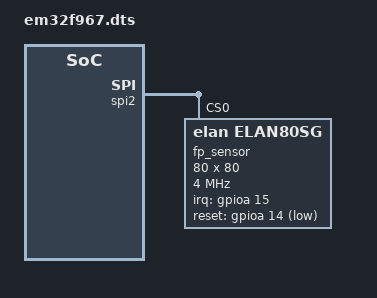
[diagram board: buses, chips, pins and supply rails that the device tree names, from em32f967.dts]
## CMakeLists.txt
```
# Copyright 2025 The ChromiumOS Authors
# Use of this source code is governed by a BSD-style license that can be
# found in the LICENSE file.

zephyr_library_sources("src/platform.c")
```

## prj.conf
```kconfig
# Copyright 2026 The ChromiumOS Authors
# Use of this source code is governed by a BSD-style license that can be
# found in the LICENSE file.

CONFIG_BOARD_EM32F967=y

# The NULL pointer exception page size must be a power of two
# and have size greater or equal ARM_MPU_REGION_MIN_ALIGN_AND_SIZE
CONFIG_CORTEX_M_NULL_POINTER_EXCEPTION_PAGE_SIZE=0x80

# Peripherials
CONFIG_GPIO=y
CONFIG_PWM=y
CONFIG_PINCTRL=y
CONFIG_FLASH_EM32=y
CONFIG_SERIAL=y
CONFIG_CONSOLE=y
CONFIG_UART_CONSOLE=y
CONFIG_UART_EM32=y
CONFIG_CLOCK_CONTROL=y
CONFIG_CLOCK_CONTROL_EM32_AHB=y
CONFIG_CLOCK_CONTROL_EM32_APB=y
CONFIG_DYNAMIC_INTERRUPTS=y

# Stack and rollback protection
CONFIG_ARM_MPU=y
CONFIG_MPU=y
CONFIG_HW_STACK_PROTECTION=y

# USB for host commands
CONFIG_UDC_DRIVER=y
CONFIG_USB_DEVICE_STACK_NEXT=y
CONFIG_UDC_BUF_POOL_SIZE=2048
CONFIG_EC_HOST_CMD_HANDLER_RX_BUFFER_SIZE=528
CONFIG_EC_HOST_CMD_HANDLER_TX_BUFFER_SIZE=520

# Watchdog
CONFIG_PLATFORM_EC_WATCHDOG_PERIOD_MS=10000
CONFIG_PLATFORM_EC_WATCHDOG_WARNING_LEADING_TIME_MS=3000

# MKBP
CONFIG_PLATFORM_EC_MKBP_USE_GPIO=n
CONFIG_PLATFORM_EC_MKBP_USE_USB=y

# Arch init for RO -> RW jump
CONFIG_INIT_ARCH_HW_AT_BOOT=y

CONFIG_USB_DEVICE_MANUFACTURER="Google"
CONFIG_USB_DEVICE_PRODUCT="FPMCU"
CONFIG_USB_DEVICE_VID=0x18D1
CONFIG_USB_DEVICE_PID=0x5405
CONFIG_USB_DEVICE_SELF_POWERED=n
CONFIG_USB_DEVICE_REMOTE_WAKEUP=y
CONFIG_USB_DEVICE_SN="0"
CONFIG_USB_DEVICE_SN_HWINFO=y
CONFIG_USB_DEVICE_MAX_POWER=250

# Make possibility to enter bootloader
CONFIG_PLATFORM_EC_HOST_COMMAND_ENTER_BOOTLOADER=y

# No access to hardware WP pin, use custom method
CONFIG_PLATFORM_EC_WP_CUSTOM=y

# TODO(b/479094824): Leave printk until firmware is fully developed.
CONFIG_LOG_PRINTK=n

# TODO(b/450715297): Enable power saving mode once supported
CONFIG_PM=n
CONFIG_PM_DEVICE=n
```

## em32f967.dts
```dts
/* Copyright 2025 The ChromiumOS Authors.
 * Use of this source code is governed by a BSD-style license that can be
 * found in the LICENSE file.
 */

#include "soc.dtsi"
#include "gpio.dtsi"
#include "rwsig.dtsi"
#include <mem.h>

#include <cros/integrated_fwid.dtsi>

/ {
	chosen {
		cros-fp,fingerprint-sensor = &fp_sensor;
	};

	named-bbram-regions {
		compatible = "named-bbram-regions";

		scratchpad {
			offset = <0x00>;
			size = <0x02>;
		};
		saved-reset-flags {
			offset = <0x02>;
			size = <0x04>;
		};
		saved-panic-reason {
			offset = <0x06>;
			size = <0x02>;
		};
		saved-panic-info {
			offset = <0x08>;
			size = <0x02>;
		};
		saved-panic-exception {
			offset = <0x0a>;
			size = <0x02>;
		};
		saved-panic-flags {
			offset = <0x0c>;
			size = <0x02>;
		};
	};

	/* Erase unit 8k, flash size for firmware 536k. The rest used for base image and ROM code */
	binman {
		/* 128kB of RO */
		wp-ro {
			size = <0x20000>;
			ec-ro {
				pad-byte = <0xff>;
				/* SHA256 checksum */
				ro-checksum {
					compatible = "cros-ec,flash-layout";
					type = "section";
					offset = <(0x20000-32)>;
					size = <32>;
					pad-byte = <0xff>;
				};
			};
		};

		/* 8k per rollback */
		rollback0 {
			offset = <0x20000>;
			size = <0x2000>;
			type = "blob";
			filename = "../build-rw/rollback_initial_data.bin";
		};

		rollback1 {
			offset = <0x22000>;
			size = <0x2000>;
			type = "blob";
			filename = "../build-rw/rollback_initial_data.bin";
		};

		ec-rw {
			offset = <0x24000>;
			size = <0x62000>;
			rw-fw {
				/*
				 * Clang doesn't emit STT_SECTION symbols (also
				 * called 'section symbols'), so 'rom_start'
				 * symbol is not available. Fortunately, Zephyr
				 * linker scripts provide '__rom_start_address'
				 * symbol which points to the beginning of
				 * 'rom_start' section.
				 */
				zephyr-rw {
					elf-base-sym = "__rom_start_address";
				};
			};
		};
		pad-byte = <0xff>;
	};
};

&flash0 {
	partitions {
		compatible = "fixed-partitions";
		#address-cells = <1>;
		#size-cells = <1>;

		rollback0: partition@20000 {
			label = "rollback0";
			reg = <0x20000 DT_SIZE_K(8)>;
		};

		rollback1: partition@22000 {
			label = "rollback1";
			reg = <0x22000 DT_SIZE_K(8)>;
		};
	};
};

&spi2 {
	fp_sensor: elan80sg@0 {
		compatible = "elan,elan80sg";
		reg = <0>;
		spi-max-frequency = <4000000>;

		width = <80>;
		height = <80>;
		bits-per-pixel = <16>;
		v4l2-pixel-format = "V4L2_PIX_FMT_GREY";

		irq-gpios = <&gpioa 15 GPIO_ACTIVE_HIGH>;
		reset-gpios = <&gpioa 14 GPIO_ACTIVE_LOW>;
	};
};
```

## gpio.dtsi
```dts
/* Copyright 2025 The ChromiumOS Authors.
 * Use of this source code is governed by a BSD-style license that can be
 * found in the LICENSE file.
 */

#include <dt-bindings/gpio_defines.h>

/ {
	aliases {
		gpio-wp = &ec_wp_l;
	};

	named-gpios {
		compatible = "named-gpios";

		// 
		ec_wp_l: write-protect {
			gpios = <&gpiob 8 GPIO_INPUT>;
		};

		/* unimplemented GPIOs */
		entering-rw {
			enum-name = "GPIO_ENTERING_RW";
		};
	};
};
```

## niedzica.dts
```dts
/* Copyright 2026 The ChromiumOS Authors.
 * Use of this source code is governed by a BSD-style license that can be
 * found in the LICENSE file.
 */

#include <elan/32f967_dv_priv.dtsi>

#include "soc.dtsi"
#include "gpio.dtsi"
#include "rwsig.dtsi"
#include <mem.h>

#include <cros/integrated_fwid.dtsi>

#define ELANI80SA_COMMON_IMAGE_PROPS \
	width = <80>; \
	height = <80>; \
	bits-per-pixel = <14>; \
	frame-size = <12800>; \
	v4l2-pixel-format = "V4L2_PIX_FMT_GREY";

/ {
	chosen {
		cros-fp,fingerprint-sensor = &fp_sensor;
	};

	named-bbram-regions {
		compatible = "named-bbram-regions";

		scratchpad {
			offset = <0x00>;
			size = <0x02>;
		};
		saved-reset-flags {
			offset = <0x02>;
			size = <0x04>;
		};
		saved-panic-reason {
			offset = <0x06>;
			size = <0x02>;
		};
		saved-panic-info {
			offset = <0x08>;
			size = <0x02>;
		};
		saved-panic-exception {
			offset = <0x0a>;
			size = <0x02>;
		};
		saved-panic-flags {
			offset = <0x0c>;
			size = <0x02>;
		};
	};

	/* Erase unit 8k, flash size for firmware 536k. The rest is used for
	 * base image and ROM code
	 */
	binman {
		/* 128kB of RO */
		wp-ro {
			size = <0x20000>;
			ec-ro {
				size = <0x20000>;
				pad-byte = <0xff>;
				/* SHA256 checksum */
				ro-checksum {
					compatible = "cros-ec,flash-layout";
					type = "section";
					offset = <(0x20000-32)>;
					size = <32>;
					pad-byte = <0xff>;
				};
			};
		};

		/* 8k per rollback */
		rollback0 {
			offset = <0x20000>;
			size = <0x2000>;
			type = "blob";
			filename = "../build-rw/rollback_initial_data.bin";
		};

		rollback1 {
			offset = <0x22000>;
			size = <0x2000>;
			type = "blob";
			filename = "../build-rw/rollback_initial_data.bin";
		};

		ec-rw {
			offset = <0x24000>;
			size = <0x62000>;
			rw-fw {
				/*
				 * Clang doesn't emit STT_SECTION symbols (also
				 * called 'section symbols'), so 'rom_start'
				 * symbol is not available. Fortunately, Zephyr
				 * linker scripts provide '__rom_start_address'
				 * symbol which points to the beginning of
				 * 'rom_start' section.
				 */
				zephyr-rw {
					elf-base-sym = "__rom_start_address";
				};
			};
		};
		pad-byte = <0xff>;
	};
};

&flash0 {
	partitions {
		compatible = "fixed-partitions";
		#address-cells = <1>;
		#size-cells = <1>;

		rollback0: partition@20000 {
			label = "rollback0";
			reg = <0x20000 DT_SIZE_K(8)>;
		};

		rollback1: partition@22000 {
			label = "rollback1";
			reg = <0x22000 DT_SIZE_K(8)>;
		};
		base_image: partition@86000 {
			label = "base_image";
			reg = <0x86000 DT_SIZE_K(20)>;
		};
		ft_info: partition@8b000 {
			label = "factory_test_info";
			reg = <0x8b000 DT_SIZE_K(4)>;
		};
	};
};

&spi2 {
	fp_sensor: elani80sa@0 {
		compatible = "elan,elani80sa";
		reg = <0>;
		spi-max-frequency = <4000000>;

		configs {
			compatible = "fingerprint-image-frame-params";
			config0 {
				ELANI80SA_COMMON_IMAGE_PROPS
				capture-type = "FINGERPRINT_CAPTURE_TYPE_VENDOR_FORMAT";
			};
			config1 {
				ELANI80SA_COMMON_IMAGE_PROPS
				capture-type = "FINGERPRINT_CAPTURE_TYPE_SIMPLE_IMAGE";
			};
			config2 {
				ELANI80SA_COMMON_IMAGE_PROPS
				capture-type = "FINGERPRINT_CAPTURE_TYPE_PATTERN0";
			};
			config3 {
				ELANI80SA_COMMON_IMAGE_PROPS
				capture-type = "FINGERPRINT_CAPTURE_TYPE_PATTERN1";
			};
			config4 {
				ELANI80SA_COMMON_IMAGE_PROPS
				capture-type = "FINGERPRINT_CAPTURE_TYPE_QUALITY_TEST";
			};
			config5 {
				ELANI80SA_COMMON_IMAGE_PROPS
				capture-type = "FINGERPRINT_CAPTURE_TYPE_RESET_TEST";
			};
		};

		irq-gpios = <&gpioa 15 GPIO_ACTIVE_HIGH>;
		reset-gpios = <&gpioa 14 GPIO_ACTIVE_LOW>;
		base-image = <&base_image>;
		ft-info = <&ft_info>;
	};
};
```

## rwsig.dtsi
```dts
/* Copyright 2026 The ChromiumOS Authors.
 * Use of this source code is governed by a BSD-style license that can be
 * found in the LICENSE file.
 */
#include <cros/binman.dtsi>

&binman {
	wp-ro {
		ec-ro {
			key-ro {
				compatible = "cros-ec,flash-layout";
				type = "section";
				offset = <(0x20000-0x400-32)>;
				size = <0x400>;
			};
		};
	};

	ec-rw {
		rw-fw {
			rw-rbver {
				size = <4>;
				type = "section";
				/* points to
				 * current_image_data.rollback_version
				 */
				offset-from-elf = <&zephyr_rw>,
					"current_image_data", <40>;
				overlap;
			};
			sig-rw {
				type = "section";
				offset = <(0x62000-0x400)>;
				size = <0x400>;
			};
			pad-byte = <0xff>;
		};
	};
};
```

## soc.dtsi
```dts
/* Copyright 2026 The ChromiumOS Authors.
 * Use of this source code is governed by a BSD-style license that can be
 * found in the LICENSE file.
 */

#include <cros/elan/em32f967.dtsi>

/*
 * Use 271kB of RAM. Some of it is reserved for hw accelarator which is not used.
 * Make also 512b space for SDCP.
 */
&sram0 {
	/* Round down to kB, because the SRAM_SIZE config uses kB as SRAM
	 * size
	 */
	reg = <0x20000000 DT_SIZE_K(271)>;
};

/ {
	sdcp: memory@20043c00 {
		compatible = "mmio-sram";
		reg = <0x20043c00 512>;
	};
};
```

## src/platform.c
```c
/* Copyright 2026 The ChromiumOS Authors
 * Use of this source code is governed by a BSD-style license that can be
 * found in the LICENSE file.
 */

#include "system.h"
#include "write_protect.h"

int write_protect_is_asserted_custom(void)
{
	return 0;
}

/* Actual implementation is placed in the private repository. */
__weak void chip_enter_bootloader(uint8_t mode)
{
}
```

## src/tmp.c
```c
/* Copyright 2025 The ChromiumOS Authors
 * Use of this source code is governed by a BSD-style license that can be
 * found in the LICENSE file.
 */

#include <zephyr/init.h>
#include <zephyr/kernel.h>
#include "hooks.h"

extern void arm_core_mpu_disable(void);

int mkbp_set_host_active_via_custom(int active, uint32_t *timestamp){
	printk("MKBP custom active: %d\n", active);
	if (active) {
		ec_host_cmd_backend_usb_trigger_event();
	}
	return 0;
}

static void prepare_for_sysjump_to_ec(void)
{
#ifdef CONFIG_MPU
	arm_core_mpu_disable();
#endif
}
DECLARE_HOOK(HOOK_SYSJUMP, prepare_for_sysjump_to_ec, HOOK_PRIO_LAST);
```
